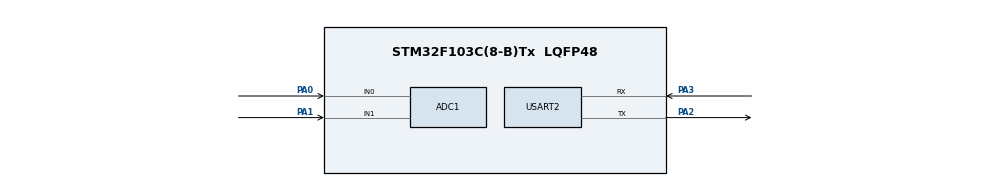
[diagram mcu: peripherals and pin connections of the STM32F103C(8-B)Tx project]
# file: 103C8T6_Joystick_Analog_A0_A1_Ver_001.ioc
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ADC1.Channel-0\#ChannelRegularConversion=ADC_CHANNEL_0
ADC1.NbrOfConversionFlag=1
ADC1.Rank-0\#ChannelRegularConversion=1
ADC1.SamplingTime-0\#ChannelRegularConversion=ADC_SAMPLETIME_55CYCLES_5
ADC1.master=1
Mcu.Family=STM32F1
Mcu.Name=STM32F103C(8-B)Tx
Mcu.Package=LQFP48
NVIC.PriorityGroup=NVIC_PRIORITYGROUP_4
PA0-WKUP.Signal=ADCx_IN0
PA1.Signal=ADCx_IN1
PA13.Mode=Serial_Wire
PA13.Signal=SYS_JTMS-SWDIO
PA14.Mode=Serial_Wire
PA14.Signal=SYS_JTCK-SWCLK
PA2.Mode=Asynchronous
PA2.Signal=USART2_TX
PA3.Mode=Asynchronous
PA3.Signal=USART2_RX
PC14-OSC32_IN.Mode=LSE-External-Oscillator
PC14-OSC32_IN.Signal=RCC_OSC32_IN
PC15-OSC32_OUT.Mode=LSE-External-Oscillator
PC15-OSC32_OUT.Signal=RCC_OSC32_OUT
PD0-OSC_IN.Mode=HSE-External-Oscillator
PD0-OSC_IN.Signal=RCC_OSC_IN
PD1-OSC_OUT.Mode=HSE-External-Oscillator
PD1-OSC_OUT.Signal=RCC_OSC_OUT
ProjectManager.HeapSize=0x200
ProjectManager.StackSize=0x400
ProjectManager.TargetToolchain=STM32CubeIDE
RCC.APB1Freq_Value=8000000
RCC.APB2Freq_Value=8000000
SH.ADCx_IN0.0=ADC1_IN0,IN0
SH.ADCx_IN1.0=ADC1_IN1,IN1
USART2.VirtualMode=VM_ASYNC
board=custom

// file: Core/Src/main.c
/* USER CODE BEGIN Header */
/**
 ******************************************************************************
 * @file           : main.c
 * @brief          : Main program body
 ******************************************************************************
 * @attention
 *
 * Copyright (c) 2025 STMicroelectronics.
 * All rights reserved.
 *
 * This software is licensed under terms that can be found in the LICENSE file
 * in the root directory of this software component.
 * If no LICENSE file comes with this software, it is provided AS-IS.
 *
 ******************************************************************************
 */
/* USER CODE END Header */
#include "main.h"

/* USER CODE BEGIN Includes */
#include <stdio.h>
#include <string.h>
#include <stdlib.h>
/* USER CODE END Includes */

ADC_HandleTypeDef hadc1;

UART_HandleTypeDef huart2;

/* USER CODE BEGIN PV */
char buffer[50];

uint16_t centerY = 2700;   // based on your readings
uint16_t centerX = 3150;

uint16_t joyY, joyX;
int16_t dy, dx;
/* USER CODE END PV */

void SystemClock_Config(void);
static void MX_GPIO_Init(void);
static void MX_ADC1_Init(void);
static void MX_USART2_UART_Init(void);

/* USER CODE BEGIN 0 */
uint16_t ReadADC(uint32_t channel) {
	ADC_ChannelConfTypeDef sConfig = { 0 };

	sConfig.Channel = channel;
	sConfig.Rank = ADC_REGULAR_RANK_1;
	sConfig.SamplingTime = ADC_SAMPLETIME_55CYCLES_5;
	HAL_ADC_ConfigChannel(&hadc1, &sConfig);

	HAL_ADC_Start(&hadc1);
	HAL_ADC_PollForConversion(&hadc1, HAL_MAX_DELAY);
	uint16_t value = HAL_ADC_GetValue(&hadc1);
	HAL_ADC_Stop(&hadc1);

	return value;
}

/* USER CODE END 0 */

int main(void) {

	/* MCU Configuration--------------------------------------------------------*/

	/* Reset of all peripherals, Initializes the Flash interface and the Systick. */
	HAL_Init();

	/* Configure the system clock */
	SystemClock_Config();

	/* Initialize all configured peripherals */
	MX_GPIO_Init();
	MX_ADC1_Init();
	MX_USART2_UART_Init();

	/* Infinite loop */
	while (1) {

		/* USER CODE BEGIN 3 */

		joyY = ReadADC(ADC_CHANNEL_0);   // PA0 - vertical
		joyX = ReadADC(ADC_CHANNEL_1);   // PA1 - horizontal

		dy = joyY - centerY;
		dx = joyX - centerX;

		// Dead zone (remove noise)
		if (abs(dy) < 150)
			dy = 0;
		if (abs(dx) < 150)
			dx = 0;

		// Direction detection
		if (dy < -300)
			sprintf(buffer, "UP\r\n");
		else if (dy > 300)
			sprintf(buffer, "DOWN\r\n");
		else if (dx < -300)
			sprintf(buffer, "LEFT\r\n");
		else if (dx > 300)
			sprintf(buffer, "RIGHT\r\n");
		else
			sprintf(buffer, "CENTER\r\n");

		HAL_UART_Transmit(&huart2, (uint8_t*) buffer, strlen(buffer), 100);

		HAL_Delay(150);
	}
	/* USER CODE END 3 */
}

void SystemClock_Config(void) {
	RCC_OscInitTypeDef RCC_OscInitStruct = { 0 };
	RCC_ClkInitTypeDef RCC_ClkInitStruct = { 0 };
	RCC_PeriphCLKInitTypeDef PeriphClkInit = { 0 };

	/** Initializes the RCC Oscillators according to the specified parameters
	 * in the RCC_OscInitTypeDef structure.
	 */
	RCC_OscInitStruct.OscillatorType = RCC_OSCILLATORTYPE_HSI;
	RCC_OscInitStruct.HSIState = RCC_HSI_ON;
	RCC_OscInitStruct.HSICalibrationValue = RCC_HSICALIBRATION_DEFAULT;
	RCC_OscInitStruct.PLL.PLLState = RCC_PLL_NONE;
	if (HAL_RCC_OscConfig(&RCC_OscInitStruct) != HAL_OK) {
		Error_Handler();
	}

	/** Initializes the CPU, AHB and APB buses clocks
	 */
	RCC_ClkInitStruct.ClockType = RCC_CLOCKTYPE_HCLK | RCC_CLOCKTYPE_SYSCLK
			| RCC_CLOCKTYPE_PCLK1 | RCC_CLOCKTYPE_PCLK2;
	RCC_ClkInitStruct.SYSCLKSource = RCC_SYSCLKSOURCE_HSI;
	RCC_ClkInitStruct.AHBCLKDivider = RCC_SYSCLK_DIV1;
	RCC_ClkInitStruct.APB1CLKDivider = RCC_HCLK_DIV1;
	RCC_ClkInitStruct.APB2CLKDivider = RCC_HCLK_DIV1;

	if (HAL_RCC_ClockConfig(&RCC_ClkInitStruct, FLASH_LATENCY_0) != HAL_OK) {
		Error_Handler();
	}
	PeriphClkInit.PeriphClockSelection = RCC_PERIPHCLK_ADC;
	PeriphClkInit.AdcClockSelection = RCC_ADCPCLK2_DIV2;
	if (HAL_RCCEx_PeriphCLKConfig(&PeriphClkInit) != HAL_OK) {
		Error_Handler();
	}
}

static void MX_ADC1_Init(void) {

	ADC_ChannelConfTypeDef sConfig = { 0 };

	/** Common config
	 */
	hadc1.Instance = ADC1;
	hadc1.Init.ScanConvMode = ADC_SCAN_DISABLE;
	hadc1.Init.ContinuousConvMode = DISABLE;
	hadc1.Init.DiscontinuousConvMode = DISABLE;
	hadc1.Init.ExternalTrigConv = ADC_SOFTWARE_START;
	hadc1.Init.DataAlign = ADC_DATAALIGN_RIGHT;
	hadc1.Init.NbrOfConversion = 1;
	if (HAL_ADC_Init(&hadc1) != HAL_OK) {
		Error_Handler();
	}

	/** Configure Regular Channel
	 */
	sConfig.Channel = ADC_CHANNEL_0;
	sConfig.Rank = ADC_REGULAR_RANK_1;
	sConfig.SamplingTime = ADC_SAMPLETIME_55CYCLES_5;
	if (HAL_ADC_ConfigChannel(&hadc1, &sConfig) != HAL_OK) {
		Error_Handler();
	}

}

static void MX_USART2_UART_Init(void) {

	huart2.Instance = USART2;
	huart2.Init.BaudRate = 115200;
	huart2.Init.WordLength = UART_WORDLENGTH_8B;
	huart2.Init.StopBits = UART_STOPBITS_1;
	huart2.Init.Parity = UART_PARITY_NONE;
	huart2.Init.Mode = UART_MODE_TX_RX;
	huart2.Init.HwFlowCtl = UART_HWCONTROL_NONE;
	huart2.Init.OverSampling = UART_OVERSAMPLING_16;
	if (HAL_UART_Init(&huart2) != HAL_OK) {
		Error_Handler();
	}

}

static void MX_GPIO_Init(void) {

	/* GPIO Ports Clock Enable */
	__HAL_RCC_GPIOC_CLK_ENABLE();
	__HAL_RCC_GPIOD_CLK_ENABLE();
	__HAL_RCC_GPIOA_CLK_ENABLE();

}

void Error_Handler(void) {
	__disable_irq();
	while (1) {
	}
}
